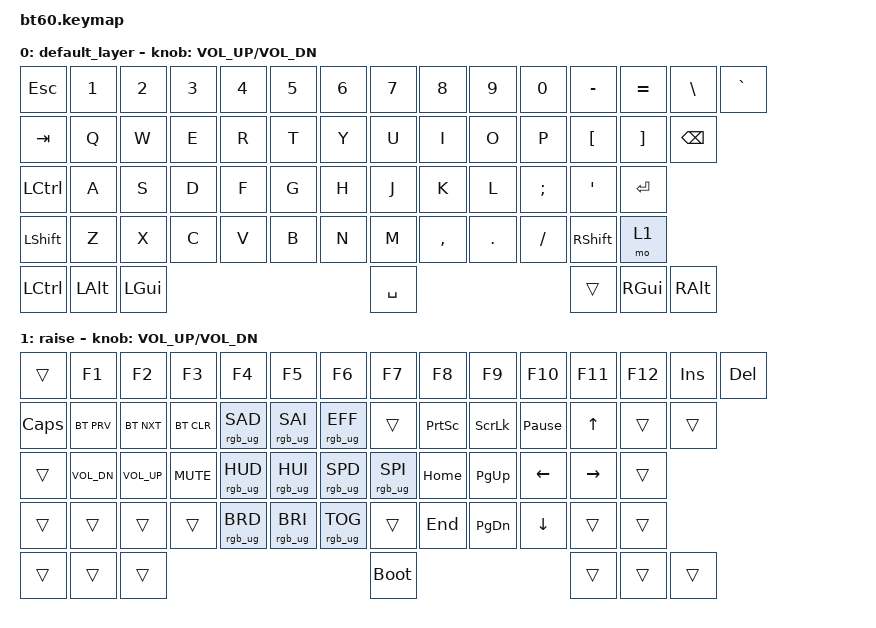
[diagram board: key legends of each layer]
#include <behaviors.dtsi>
#include <dt-bindings/zmk/keys.h>
#include <dt-bindings/zmk/bt.h>
#include <dt-bindings/zmk/rgb.h>
#include <dt-bindings/zmk/backlight.h>

/ {
	keymap {
		compatible = "zmk,keymap";

		default_layer {
				// ------------------------------------------------------------------------------------------
				// | ESC |  1  |  2  |  3  |  4  |  5  |  6  |  7  |  8  |  9  |  0  |  -  |  =  |  \  | `  |
				// | TAB  |  Q  |  W  |  E  |  R  |  T  |  Y  |  U  |  I  |  O  |  P  |  [  |  ]  |  BSPC   |
				// | CTRL  |  A  |  S  |  D  |  F  |  G  |  H  |  J  |  K  |  L  |  ;  |  '  |      ENTER   |
				// |  SHIFT    |  Z  |  X  |  C  |  V  |  B  |  N  |  M  |  ,  |  .  | /   | SHIFT |   1    |
				// |  CAPS  |  ALT  |  WIN |                     SPACE               |   WIN   | ALT | CTRL |
				// ------------------------------------------------------------------------------------------
			bindings = <
				&kp ESC       &kp N1          &kp N2          &kp N3        &kp N4    &kp N5    &kp N6    &kp N7    &kp  N8      &kp  N9     &kp  N0       &kp MINUS     &kp EQUAL          &kp BSLH    &kp GRAVE
				&kp TAB       &kp Q           &kp W           &kp E         &kp R     &kp T     &kp Y     &kp U     &kp  I       &kp  O      &kp  P        &kp LBKT      &kp RBKT           &kp BSPC
				&kp LCTRL     &kp A           &kp S           &kp D         &kp F     &kp G     &kp H     &kp J     &kp  K       &kp  L      &kp SEMI      &kp SQT       &kp RET
				&kp LSHFT     &kp Z           &kp X           &kp C         &kp V     &kp B     &kp N     &kp M     &kp COMMA    &kp DOT     &kp FSLH      &kp RSHFT     &mo 1
				&kp LCTRL     &kp LALT        &kp LGUI                                                    &kp SPACE                                        &trans      &kp RGUI           &kp RALT
			>;
			sensor-bindings = <&inc_dec_kp C_VOL_UP C_VOL_DN>;
		};
		raise {
			bindings = <
				&trans        &kp F1          &kp F2          &kp F3        &kp F4            &kp F5            &kp F6            &kp F7    &kp F8       &kp F9           &kp F10       &kp F11       &kp F12            &kp INS      &kp DEL
				&kp CLCK      &bt BT_PRV      &bt BT_NXT      &bt BT_CLR    &rgb_ug RGB_SAD   &rgb_ug RGB_SAI   &rgb_ug RGB_EFF   &trans    &kp PSCRN       &kp SLCK           &kp PAUSE_BREAK        &kp UP        &trans             &trans
				&trans        &kp C_VOL_DN    &kp C_VOL_UP    &kp C_MUTE    &rgb_ug RGB_HUD   &rgb_ug RGB_HUI   &rgb_ug RGB_SPD   &rgb_ug RGB_SPI   &kp HOME     &kp PG_UP        &kp LEFT      &kp RIGHT     &trans
				&trans        &trans          &trans          &trans        &rgb_ug RGB_BRD   &rgb_ug RGB_BRI   &rgb_ug RGB_TOG   &trans    &kp END      &kp PG_DN        &kp DOWN      &trans        &trans
				&trans        &trans          &trans                                                      &bootloader                                      &trans        &trans             &trans
			>;
			sensor-bindings = <&inc_dec_kp C_VOL_UP C_VOL_DN>;
		};
	};
};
